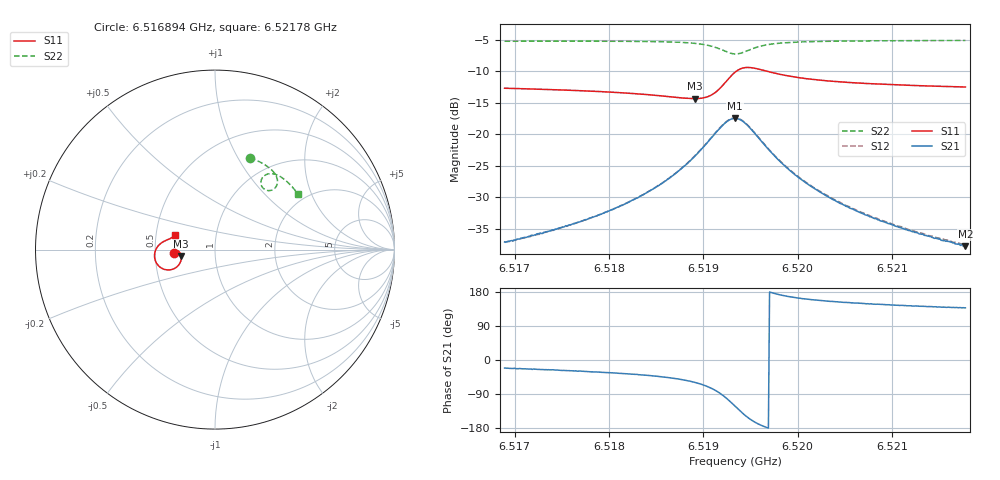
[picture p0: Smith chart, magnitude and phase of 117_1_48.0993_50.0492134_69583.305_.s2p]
#  HZ  S  RI  R  50.00
! Rohde & Schwarz Vector Network Analyzer
! Rohde-Schwarz,ZNB20-2Port,1311601062101988,3.16
! Created: UTC 12/23/2023, 3:46:22 AM
! freq[Hz]  re:S11  im:S11  re:S21  im:S21  re:S12  im:S12  re:S22  im:S22
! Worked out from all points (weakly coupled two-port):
!   401 points, 6.516894 GHz to 6.52178 GHz, reference 50 ohm
!   highest |S21| = -17.49 dB at 6.519337 GHz (marker M1); lowest = -37.8 dB at 6.52178 GHz (marker M2)
!   lowest |S11| = -14.3 dB at 6.518909 GHz (marker M3), VSWR 1.47, Z = 34.1 - j2.49 ohm
!   |S11| at or under -10 dB: start of sweep to 6.51935 GHz; 6.519678 GHz to end of sweep
!   |S22| runs from -7.2 to -5.1 dB; largest |S21 - S12| = 0.0041
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6.5168937e9  -0.2311 -0.0193  0.013 -0.00504  0.013 -0.00459  0.1957 0.5121
6.5173091e9  -0.2269 -0.0129  0.015 -0.00713  0.0151 -0.00653  0.2265 0.4996
6.5177122e9  -0.2213 -0.00807  0.0177 -0.0101  0.018 -0.00952  0.2564 0.485
6.5181642e9  -0.2127 -0.00559  0.0225 -0.0163  0.0231 -0.0156  0.2904 0.4643
6.5185307e9  -0.2022 -0.00963  0.0283 -0.027  0.0294 -0.0262  0.3185 0.4411
6.5187261e9  -0.1949 -0.0178  0.0325 -0.0382  0.0337 -0.0374  0.3338 0.4232
6.5189094e9  -0.1884 -0.0351  0.0343 -0.0572  0.0363 -0.0563  0.3456 0.3988
6.5190193e9  -0.1882 -0.0538  0.0312 -0.0755  0.0337 -0.075  0.3484 0.3781
6.5191048e9  -0.1949 -0.0746  0.0219 -0.0944  0.025 -0.0944  0.344 0.3581
6.5192392e9  -0.2364 -0.1097  -0.0203 -0.1223  -0.0169 -0.1238  0.3126 0.3301
6.5192881e9  -0.2633 -0.1133  -0.0452 -0.123  -0.0419 -0.1251  0.2933 0.329
6.5193369e9  -0.2923 -0.106  -0.0704 -0.1135  -0.0676 -0.1164  0.2744 0.3368
6.5193858e9  -0.3165 -0.0882  -0.0899 -0.0951  -0.0879 -0.0986  0.2607 0.3523
6.5194469e9  -0.3336 -0.0577  -0.1019 -0.067  -0.1007 -0.0704  0.2556 0.3756
6.5195568e9  -0.3329 -0.00892  -0.0961 -0.0253  -0.0961 -0.0283  0.2698 0.4073
6.5196668e9  -0.3172 0.0198  -0.0794 -0.00334  -0.08 -0.0057  0.2924 0.4206
6.5198989e9  -0.2874 0.0444  -0.0519 0.0113  -0.0528 0.00993  0.3309 0.4207
6.5201554e9  -0.2674 0.0538  -0.0354 0.0135  -0.0363 0.0126  0.3595 0.4091
6.5205341e9  -0.2507 0.0611  -0.0233 0.0126  -0.0239 0.012  0.3904 0.3877
6.5209739e9  -0.2386 0.0676  -0.0161 0.0109  -0.0166 0.0106  0.4184 0.362
6.5213892e9  -0.2303 0.0734  -0.0121 0.00974  -0.0123 0.00947  0.4412 0.3369
6.5217801e9  -0.2238 0.0787  -0.00952 0.00866  -0.00995 0.00864  0.4601 0.3125
